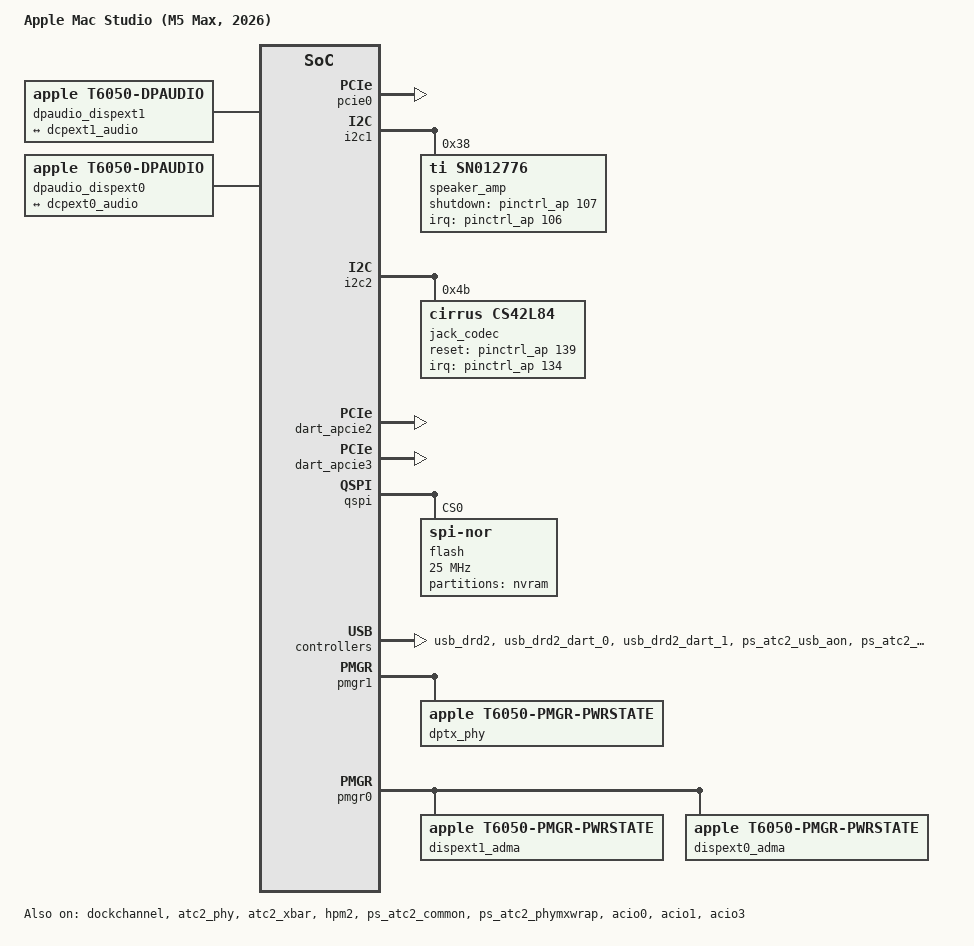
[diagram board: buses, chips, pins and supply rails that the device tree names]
// SPDX-License-Identifier: GPL-2.0+ OR MIT
/*
 * Mac Studio (M5 Max, 2026)
 *
 * target-type: J775c, board-id 0x10, chip-id 0x6050 (one die, 18 CPUs: 2x6 M + 6 P)
 *
 * The J775D (M5 Ultra) Studio's board on the one-die T6050 of the M5 Max, generated by
 * make-j775c-dts.py:
 * - the CPU, die-1 and GPU parts are t6050-j716c.dts's (M5 Max): die 1, its CPUs and buses go,
 *   each cluster's sixth core comes in, the GPU's OPP and AON tables are one die's (Aura fills
 *   them from the ADT), and the die-1 HPMs and nub-spmi-a2 go;
 * - the board parts are t6050-j775d.dts's: PCIe ports 2 (RTL8127A), 3 (ASM3142 USB-A) and 0 (N1),
 *   audio (SN012776 on i2c1 0x38, CS42L84 on i2c2 0x4b), the pins, console, DARTs, dual fans and
 *   the NVRAM partition.
 * Checked against the J775c ADT captured 2026-11-03 (macOS 26A425): the same PCIe endpoints (lan0
 * 10ec:8127, pcie-xhci 1b21:2142, centauri 106b:1901-1903; the GL9755 SD reader on port 1 is
 * described but disabled until trained by the bootloader), the same i2c addresses and GPIO pins
 * (amp 106/107, jack 134/139, N1 PERST# 80), the
 * same NVRAM (0x700000 + 0xc0000, 12 banks), ATC PHYs 1-3 and HPMs 0-3 on nub-spmi-a0 at J775D's
 * die-0 addresses, no nub-spmi-a2, and CPU MPIDRs 0x5/0x105/0x205 for each cluster's sixth core.
 * J775c-specific: the N1's platform ID and firmware name carry board 0x10.
 *
 * Not yet booted on J775c.
 *
 * Copyright The Asahi Linux Contributors
 */

/dts-v1/;

#include "t6050-j775c-legacy.dtsi"
#include "t6050-j775c-rebased-peripherals.dtsi"

/delete-node/ &cpu18;
/delete-node/ &cpu19;
/delete-node/ &cpu20;
/delete-node/ &cpu21;
/delete-node/ &cpu22;
/delete-node/ &cpu24;
/delete-node/ &cpu25;
/delete-node/ &cpu26;
/delete-node/ &cpu27;
/delete-node/ &cpu28;
/delete-node/ &cpu30;
/delete-node/ &cpu31;
/delete-node/ &cpu32;
/delete-node/ &cpu33;
/delete-node/ &cpu34;

/ {
	compatible = "apple,j775c", "apple,t6050", "apple,arm-platform";
	model = "Apple Mac Studio (M5 Max, 2026)";
	chassis-type = "desktop";

	aliases {
		serial0 = &dockchannel;
		/* the boot loader fills in the MAC address through this alias */
		ethernet0 = &ethernet0;
		/* kboot fills the N1's factory addresses from /chosen through these */
		wifi0 = &n1_alpha;
		bluetooth0 = &n1_beta;
		/* Aura's kboot_setup_atc() fills this PHY's tunables from /arm-io/atc-phy2. */
		atcphy2 = &atc2_phy;
		/* And /arm-io/atc-phy0's (rear USB-C port 1, the DFU port). */
		atcphy0 = &atc0_phy;
		/* The same fills /arm-io/atc-phy1's (rear USB-C port 2, USB data). */
		atcphy1 = &atc1_phy;
		/* And rear port 4's (atc-phy3, die 0); J775D's die-1 PHYs 4 and 5 don't exist on J775c. */
		atcphy3 = &atc3_phy;
		/* asahi-bless and the boot loader's dt_set_nvram find the partition by this alias */
		nvram = &nvram;
	};

	/*
	 * No stdout-path: the boot loader passes the console on the command
	 * line when it wants one.
	 */
	chosen {
		#address-cells = <2>;
		#size-cells = <2>;
		ranges;
		/*
		 * Normally replaced by the loader. With no console= named,
		 * NULL_TTY_DEFAULT_CONSOLE makes the console ttynull.
		 */
		bootargs = "maxcpus=1 rdinit=/init";
	};

	/*
	 * PCIe ports 2 (the onboard 10 Gb Ethernet) and 3 (the rear USB-A
	 * xHCI). The boot loader powers and trains both links and keeps power,
	 * clocks, the PHYs and PERST; Linux owns the routing, MSI and the
	 * DARTs. The boot loader disables a port, and its DART, whose link did
	 * not come up.
	 *
	 * Port 0 carries the N1 (Wi-Fi and Bluetooth), described disabled until the
	 * boot loader trains it (pci@0,0 below).
	 */
	pcie0: pcie@1cb0000000 {
		compatible = "apple,t6050-pcie";
		device_type = "pci";
		reg = <0x1c 0xb0000000 0x0 0x10000000>,
		      <0x4 0x14000000 0x0 0x4000>,
		      <0x4 0x12028000 0x0 0x8000>,
		      <0x4 0x17018000 0x0 0x4000>,
		      <0x4 0x12024000 0x0 0x4000>,
		      <0x4 0x13028000 0x0 0x8000>,
		      <0x4 0x1701c000 0x0 0x4000>,
		      <0x4 0x13024000 0x0 0x4000>,
		      <0x4 0x10028000 0x0 0x8000>,
		      <0x4 0x17010000 0x0 0x4000>,
		      <0x4 0x10024000 0x0 0x4000>,
		      <0x4 0x11028000 0x0 0x8000>,
		      <0x4 0x17014000 0x0 0x4000>,
		      <0x4 0x11024000 0x0 0x4000>;
		reg-names = "config", "rc", "port2", "phy2", "intr2axi2",
			    "port3", "phy3", "intr2axi3",
			    "port0", "phy0", "intr2axi0",
			    "port1", "phy1", "intr2axi1";
		nonposted-mmio;
		interrupts = <AIC_IRQ 0 1539 IRQ_TYPE_LEVEL_HIGH>,
			     <AIC_IRQ 0 1547 IRQ_TYPE_LEVEL_HIGH>,
			     <AIC_IRQ 0 1523 IRQ_TYPE_LEVEL_HIGH>,
			     <AIC_IRQ 0 1531 IRQ_TYPE_LEVEL_HIGH>;
		interrupt-names = "port2", "port3", "port0", "port1";

		/* One shared MSI domain for the GP ports: vectors 64-127 */
		msi-controller;
		msi-parent = <&pcie0>;
		msi-ranges = <&aic AIC_IRQ 0 1888 IRQ_TYPE_EDGE_RISING 64>;
		apple,msi-vector-base = <64>;

		/*
		 * The boot loader numbers port 2's secondary bus 1 and port 3's 2;
		 * port 0's is 3 until a boot loader that trains it renumbers all three
		 * in the PCI core's order. The N1's three functions are on DART
		 * streams 1-3.
		 */
		iommu-map = <0x100 &dart_apcie2 1 1>,
			    <0x200 &dart_apcie3 1 1>,
			    <0x300 &dart_apcie0 1 3>,
			    <0x400 &dart_apcie1 1 1>;
		iommu-map-mask = <0xffff>;
		dma-coherent;
		linux,pci-domain = <0>;
		bus-range = <0 4>;
		#address-cells = <3>;
		#size-cells = <2>;
		ranges = <0x02000000 0x0 0x80000000 0xb 0x80000000 0x0 0x40000000>,
			 <0x43000000 0xb 0xc0000000 0xb 0xc0000000 0x0 0x20000000>;

		/* ADT apcie0/pci-bridge1/pcie-sdreader: Genesys GL9755, 17a0:9755.
		 * Aura powers it via SMC pcIO (0, 0x190000), trains the link,
		 * then enables this node and its DART and renumbers the buses.
		 */

		port02: pci@2,0 {
			device_type = "pci";
			reg = <0x1000 0 0 0 0>;
			bus-range = <1 1>;
			apple,link-trained-by-bootloader;

			#address-cells = <3>;
			#size-cells = <2>;
			ranges;

			interrupt-controller;
			#interrupt-cells = <1>;
			interrupt-map-mask = <0 0 0 7>;
			interrupt-map = <0 0 0 1 &port02 0 0 0 0>,
					<0 0 0 2 &port02 0 0 0 1>,
					<0 0 0 3 &port02 0 0 0 2>,
					<0 0 0 4 &port02 0 0 0 3>;

			/* The RTL8127A keeps no MAC address of its own */
			ethernet0: ethernet@0,0 {
				reg = <0x10000 0x0 0x0 0x0 0x0>;
				/* To be filled by the loader */
				local-mac-address = [00 00 00 00 00 00];
			};
		};

		port03: pci@3,0 {
			device_type = "pci";
			reg = <0x1800 0 0 0 0>;
			bus-range = <2 2>;
			apple,link-trained-by-bootloader;

			#address-cells = <3>;
			#size-cells = <2>;
			ranges;

			interrupt-controller;
			#interrupt-cells = <1>;
			interrupt-map-mask = <0 0 0 7>;
			interrupt-map = <0 0 0 1 &port03 0 0 0 0>,
					<0 0 0 2 &port03 0 0 0 1>,
					<0 0 0 3 &port03 0 0 0 2>,
					<0 0 0 4 &port03 0 0 0 3>;
		};

		/*
		 * The N1 Wi-Fi/Bluetooth (106b:1900, its ROM), trained by the bootloader after the SMC
		 * releases its reset. Its driver boots the firmware and has this port reset after the ROM
		 * stage; Control, Alpha (Wi-Fi) and Beta (Bluetooth) then answer at functions 0-2.
		 * Disabled with its DART: a bootloader that trains the port enables both and renumbers the
		 * buses here (bus-range, reg, iommu-map) to the PCI core's order, port 0 first.
		 */
		port00: pci@0,0 {
			device_type = "pci";
			reg = <0x0 0 0 0 0>;
			bus-range = <3 3>;
			apple,link-trained-by-bootloader;
			/*
			 * Its PERST# (pci-bridge0 function-perst): /arm-io/gpio0 pin 0x50, pad
			 * register 0x140 of pinctrl_ap, which owns the pad (and exposes it: see
			 * its gpio-reserved-ranges below). Driven only by the root-port reset after
			 * the N1's ROM stage.
			 */
			reset-gpios = <&pinctrl_ap 80 GPIO_ACTIVE_LOW>;
			status = "disabled";

			#address-cells = <3>;
			#size-cells = <2>;
			ranges;

			interrupt-controller;
			#interrupt-cells = <1>;
			interrupt-map-mask = <0 0 0 7>;
			interrupt-map = <0 0 0 1 &port00 0 0 0 0>,
					<0 0 0 2 &port00 0 0 0 1>,
					<0 0 0 3 &port00 0 0 0 2>,
					<0 0 0 4 &port00 0 0 0 3>;

			/* The firmware: the chip's image with this board's ticket; platform ID is
			 * (board 0x10 << 16) | chip 0x6050, from J775c's /chosen board-id */
			n1_control: control@0,0 {
				compatible = "pci106b,1900";
				reg = <0x30000 0x0 0x0 0x0 0x0>;
				firmware-name = "apple/centauri/j775c-ftab.bin";
				apple,centauri-platform-id = <0x00106050>;
				apple,centauri-protocol = <27>;
			};

			n1_alpha: wifi@0,1 {
				compatible = "pci106b,1902";
				reg = <0x30100 0x0 0x0 0x0 0x0>;
				local-mac-address = [00 00 00 00 00 00];
			};

			n1_beta: bluetooth@0,2 {
				compatible = "pci106b,1903";
				reg = <0x30200 0x0 0x0 0x0 0x0>;
				local-bd-address = [00 00 00 00 00 00];
			};
		};
		port01: pci@1,0 {
			device_type = "pci";
			reg = <0x800 0 0 0 0>;
			bus-range = <4 4>;
			apple,link-trained-by-bootloader;
			status = "disabled";
			#address-cells = <3>;
			#size-cells = <2>;
			ranges;
			interrupt-controller;
			#interrupt-cells = <1>;
			interrupt-map-mask = <0 0 0 7>;
			interrupt-map = <0 0 0 1 &port01 0 0 0 0>,
					<0 0 0 2 &port01 0 0 0 1>,
					<0 0 0 3 &port01 0 0 0 2>,
					<0 0 0 4 &port01 0 0 0 3>;

			/* ADT card-detect-polarity = write-protect-polarity = 1. */
			sdcard@0,0 {
				compatible = "pci17a0,9755";
				reg = <0x40000 0 0 0 0>;
				cd-inverted;
				wp-inverted;
			};
		};
	};

	/*
	 * The jack (CS42L84) and the speaker (SN012776) through the AOP's audio services. The card waits
	 * for its CPU component, the AOP audio node, which exists only after Aura's AOP handoff.
	 */
	sound {
		compatible = "apple,j775c-macaudio", "apple,j775d-macaudio", "apple,macaudio";
		/*
		 * No variant letter, as on J375/J475/J575: userspace (speakersafetyd,
		 * the UCM profile, asahi-audio) keys on the card id "AppleJ775".
		 */
		model = "Mac Studio J775";
		#address-cells = <1>;
		#size-cells = <0>;

		dai-link@0 {
			reg = <0>;
			link-name = "Headphone Jack";

			cpu {
				sound-dai = <&aop_audio 0>;
			};

			codec {
				sound-dai = <&jack_codec>;
			};
		};

		dai-link@1 {
			reg = <1>;
			link-name = "Speaker";

			cpu {
				sound-dai = <&aop_audio 3>;
			};

			codec {
				sound-dai = <&speaker_amp>;
			};
		};
	};

	/delete-node/ soc@6300000000;
	/delete-node/ soc@2308000000;
	/delete-node/ soc@6308000000;
	/delete-node/ soc@2220000000;
	/delete-node/ soc@4200000000;

	/*
	 * The memory cache controller of the one die: eight AMCCs of four planes (ADT /arm-io/mcc:
	 * amcc-count 8, dcs-count-per-amcc 4, die-enable-mask 1). The dtsi's node also lists die 1's
	 * planes, so it goes with the die-1 buses above. Without this one the system level cache
	 * never allocates: the boot loader leaves allocation disabled on every plane.
	 *
	 * Each plane window reaches past the DSID quota and occupancy registers (+0xa000 to
	 * +0xc300); the ADT gives each AMCC 0x140000, its planes 0x40000 apart.
	 */
	soc@2220000000 {
		compatible = "simple-bus";
		#address-cells = <2>;
		#size-cells = <2>;
		ranges = <0x22 0x20000000 0x22 0x20000000 0x0 0x10000000>;
		nonposted-mmio;

		memory-controller@2220000000 {
			compatible = "apple,t6050-mcc";
			reg = <0x22 0x20000000 0x0 0x10000>,
			      <0x22 0x20040000 0x0 0x10000>,
			      <0x22 0x20080000 0x0 0x10000>,
			      <0x22 0x200c0000 0x0 0x10000>,
			      <0x22 0x22000000 0x0 0x10000>,
			      <0x22 0x22040000 0x0 0x10000>,
			      <0x22 0x22080000 0x0 0x10000>,
			      <0x22 0x220c0000 0x0 0x10000>,
			      <0x22 0x24000000 0x0 0x10000>,
			      <0x22 0x24040000 0x0 0x10000>,
			      <0x22 0x24080000 0x0 0x10000>,
			      <0x22 0x240c0000 0x0 0x10000>,
			      <0x22 0x26000000 0x0 0x10000>,
			      <0x22 0x26040000 0x0 0x10000>,
			      <0x22 0x26080000 0x0 0x10000>,
			      <0x22 0x260c0000 0x0 0x10000>,
			      <0x22 0x28000000 0x0 0x10000>,
			      <0x22 0x28040000 0x0 0x10000>,
			      <0x22 0x28080000 0x0 0x10000>,
			      <0x22 0x280c0000 0x0 0x10000>,
			      <0x22 0x2a000000 0x0 0x10000>,
			      <0x22 0x2a040000 0x0 0x10000>,
			      <0x22 0x2a080000 0x0 0x10000>,
			      <0x22 0x2a0c0000 0x0 0x10000>,
			      <0x22 0x2c000000 0x0 0x10000>,
			      <0x22 0x2c040000 0x0 0x10000>,
			      <0x22 0x2c080000 0x0 0x10000>,
			      <0x22 0x2c0c0000 0x0 0x10000>,
			      <0x22 0x2e000000 0x0 0x10000>,
			      <0x22 0x2e040000 0x0 0x10000>,
			      <0x22 0x2e080000 0x0 0x10000>,
			      <0x22 0x2e0c0000 0x0 0x10000>;
			apple,boot-dma-devices = <&display>;
		};
	};

	/*
	 * The GPU's OPP tables for one die: four clusters, so four voltage cells per main state,
	 * and one per CS/AFR state. Aura fills them in, as on J775D.
	 */
	/delete-node/ opp-table-gpu;
	/delete-node/ opp-table-gpu-afr;
	/delete-node/ opp-table-gpu-cs;

	/* /arm-io/sgx perf-states: 14 states, one table per cluster */
	gpu_opp: opp-table-gpu {
		compatible = "operating-points-v2";

		opp00 {
			opp-hz = /bits/ 64 <0>;
			opp-microvolt = <0 0 0 0>;
			opp-microvolt-sram = <0 0 0 0>;
		};

		opp01 {
			opp-hz = /bits/ 64 <0>;
			opp-microvolt = <0 0 0 0>;
			opp-microvolt-sram = <0 0 0 0>;
		};

		opp02 {
			opp-hz = /bits/ 64 <0>;
			opp-microvolt = <0 0 0 0>;
			opp-microvolt-sram = <0 0 0 0>;
		};

		opp03 {
			opp-hz = /bits/ 64 <0>;
			opp-microvolt = <0 0 0 0>;
			opp-microvolt-sram = <0 0 0 0>;
		};

		opp04 {
			opp-hz = /bits/ 64 <0>;
			opp-microvolt = <0 0 0 0>;
			opp-microvolt-sram = <0 0 0 0>;
		};

		opp05 {
			opp-hz = /bits/ 64 <0>;
			opp-microvolt = <0 0 0 0>;
			opp-microvolt-sram = <0 0 0 0>;
		};

		opp06 {
			opp-hz = /bits/ 64 <0>;
			opp-microvolt = <0 0 0 0>;
			opp-microvolt-sram = <0 0 0 0>;
		};

		opp07 {
			opp-hz = /bits/ 64 <0>;
			opp-microvolt = <0 0 0 0>;
			opp-microvolt-sram = <0 0 0 0>;
		};

		opp08 {
			opp-hz = /bits/ 64 <0>;
			opp-microvolt = <0 0 0 0>;
			opp-microvolt-sram = <0 0 0 0>;
		};

		opp09 {
			opp-hz = /bits/ 64 <0>;
			opp-microvolt = <0 0 0 0>;
			opp-microvolt-sram = <0 0 0 0>;
		};

		opp10 {
			opp-hz = /bits/ 64 <0>;
			opp-microvolt = <0 0 0 0>;
			opp-microvolt-sram = <0 0 0 0>;
		};

		opp11 {
			opp-hz = /bits/ 64 <0>;
			opp-microvolt = <0 0 0 0>;
			opp-microvolt-sram = <0 0 0 0>;
		};

		opp12 {
			opp-hz = /bits/ 64 <0>;
			opp-microvolt = <0 0 0 0>;
			opp-microvolt-sram = <0 0 0 0>;
		};

		opp13 {
			opp-hz = /bits/ 64 <0>;
			opp-microvolt = <0 0 0 0>;
			opp-microvolt-sram = <0 0 0 0>;
		};
	};

	/* afr-perf-states, one voltage */
	gpu_afr_opp: opp-table-gpu-afr {
		compatible = "operating-points-v2";

		opp00 {
			opp-hz = /bits/ 64 <0>;
			opp-microvolt = <0>;
		};

		opp01 {
			opp-hz = /bits/ 64 <0>;
			opp-microvolt = <0>;
		};

		opp02 {
			opp-hz = /bits/ 64 <0>;
			opp-microvolt = <0>;
		};

		opp03 {
			opp-hz = /bits/ 64 <0>;
			opp-microvolt = <0>;
		};

		opp04 {
			opp-hz = /bits/ 64 <0>;
			opp-microvolt = <0>;
		};

		opp05 {
			opp-hz = /bits/ 64 <0>;
			opp-microvolt = <0>;
		};

		opp06 {
			opp-hz = /bits/ 64 <0>;
			opp-microvolt = <0>;
		};

		opp07 {
			opp-hz = /bits/ 64 <0>;
			opp-microvolt = <0>;
		};

		opp08 {
			opp-hz = /bits/ 64 <0>;
			opp-microvolt = <0>;
		};

		opp09 {
			opp-hz = /bits/ 64 <0>;
			opp-microvolt = <0>;
		};

		opp10 {
			opp-hz = /bits/ 64 <0>;
			opp-microvolt = <0>;
		};

		opp11 {
			opp-hz = /bits/ 64 <0>;
			opp-microvolt = <0>;
		};

		opp12 {
			opp-hz = /bits/ 64 <0>;
			opp-microvolt = <0>;
		};

		opp13 {
			opp-hz = /bits/ 64 <0>;
			opp-microvolt = <0>;
		};
	};

	/* cs-perf-states, one voltage */
	gpu_cs_opp: opp-table-gpu-cs {
		compatible = "operating-points-v2";

		opp00 {
			opp-hz = /bits/ 64 <0>;
			opp-microvolt = <0>;
		};

		opp01 {
			opp-hz = /bits/ 64 <0>;
			opp-microvolt = <0>;
		};

		opp02 {
			opp-hz = /bits/ 64 <0>;
			opp-microvolt = <0>;
		};

		opp03 {
			opp-hz = /bits/ 64 <0>;
			opp-microvolt = <0>;
		};

		opp04 {
			opp-hz = /bits/ 64 <0>;
			opp-microvolt = <0>;
		};

		opp05 {
			opp-hz = /bits/ 64 <0>;
			opp-microvolt = <0>;
		};

		opp06 {
			opp-hz = /bits/ 64 <0>;
			opp-microvolt = <0>;
		};

		opp07 {
			opp-hz = /bits/ 64 <0>;
			opp-microvolt = <0>;
		};

		opp08 {
			opp-hz = /bits/ 64 <0>;
			opp-microvolt = <0>;
		};

		opp09 {
			opp-hz = /bits/ 64 <0>;
			opp-microvolt = <0>;
		};

		opp10 {
			opp-hz = /bits/ 64 <0>;
			opp-microvolt = <0>;
		};

		opp11 {
			opp-hz = /bits/ 64 <0>;
			opp-microvolt = <0>;
		};

		opp12 {
			opp-hz = /bits/ 64 <0>;
			opp-microvolt = <0>;
		};

		opp13 {
			opp-hz = /bits/ 64 <0>;
			opp-microvolt = <0>;
		};
	};
};


/* The AON power-telemetry records of one die (g0TR, g1TR, r0TR), which Aura fills */
&gpu {
	apple,aon-ptd = <0 0 0  0 0 0  0 0 0>;
	/* The J775c ADT's gpu-idleoff-standby-timer, 0xdac (the board default is 1500 us). */
	apple,idleoff-standby-timer = <3500>;
};

&{/cpus} {
	cpu-map {
		cluster0 {
			core0 {
				cpu = <&cpu0>;
			};
			core1 {
				cpu = <&cpu1>;
			};
			core2 {
				cpu = <&cpu2>;
			};
			core3 {
				cpu = <&cpu3>;
			};
			core4 {
				cpu = <&cpu4>;
			};
			core5 {
				cpu = <&cpu5>;
			};
		};
		cluster1 {
			core0 {
				cpu = <&cpu6>;
			};
			core1 {
				cpu = <&cpu7>;
			};
			core2 {
				cpu = <&cpu8>;
			};
			core3 {
				cpu = <&cpu9>;
			};
			core4 {
				cpu = <&cpu10>;
			};
			core5 {
				cpu = <&cpu11>;
			};
		};
		cluster2 {
			core0 {
				cpu = <&cpu12>;
			};
			core1 {
				cpu = <&cpu13>;
			};
			core2 {
				cpu = <&cpu14>;
			};
			core3 {
				cpu = <&cpu15>;
			};
			core4 {
				cpu = <&cpu16>;
			};
			core5 {
				cpu = <&cpu17>;
			};
		};
	};



};

/*
 * CPU PMUs, one per core type. A core's PMU interrupt is a FIQ (PMCR0
 * IMODE = FIQ, as XNU programs it), which AIC hands to the PMU whose FIQ
 * index lists that core. The ADT's per-core AIC interrupts (cpuN
 * "interrupts", 69 + 3n on cluster 0, 101 + 3n on cluster 1, 133 + 3n on
 * the P cluster) are not used. These live here rather than in t6050.dtsi
 * because the core list is the board's: one die, six cores per cluster.
 */
/ {

};


/* J775D's die-1 PD controllers (hpm4, hpm5 on nub-spmi-a2) don't exist on J775c */
/delete-node/ &hpm4;
/delete-node/ &hpm5;

&nub_spmi_a2 {
	status = "disabled";
};


/* The pins this board's nodes name, and no others */
&pinctrl_ap {
	/*
	 * Every pin reads cleanly (evidence/dt/2026-10-30-gpio-qualification.md), but only
	 * the pins a node in this file names are exposed: 80 (PCIe port 0's PERST#, ADT
	 * pci-bridge0 function-perst), 106 (amp IRQ), 107 (amp shutdown), 134 (jack IRQ)
	 * and 139 (jack codec reset), from the ADT's audio-speaker and audio-codec-output.
	 * A reserved line cannot be requested (gpiolib answers -EINVAL), so a node that
	 * names a new pin of pinctrl_ap opens it here too.
	 */
	gpio-reserved-ranges = <0 80>, <81 25>, <108 26>, <135 4>, <140 81>;
};

&i2c1 {
	/*
	 * ADT speaker-config 00 14 00 02: playback slot 0, amp gain 20, I sense in slot 0
	 * and V sense in slot 2. The bytes are <slot, gain, I slot, V slot>: on J316 every
	 * amp's row matches its validated imon/vmon pair (00 0f 00 02 is imon 0, vmon 2;
	 * 01 0f 04 06 is imon 4, vmon 6), and J375/J473/J575 use imon 0, vmon 2 as well.
	 * The firmware's speaker frame is 250 BCLKs of 12 MHz (ADT
	 * iop-audio-controller/audio-speaker), which the amp's ratio detection rejects.
	 */
	speaker_amp: codec@38 {
		compatible = "ti,sn012776", "ti,tas2764";
		reg = <0x38>;
		shutdown-gpios = <&pinctrl_ap 107 GPIO_ACTIVE_HIGH>;
		interrupts-extended = <&pinctrl_ap 106 IRQ_TYPE_LEVEL_LOW>;
		#sound-dai-cells = <0>;
		ti,imon-slot-no = <0>;
		ti,vmon-slot-no = <2>;
		ti,bclk-ratio = <250>;
	};
};

&i2c2 {
	jack_codec: codec@4b {
		compatible = "cirrus,cs42l84";
		reg = <0x4b>;
		reset-gpios = <&pinctrl_ap 139 GPIO_ACTIVE_HIGH>;
		interrupts-extended = <&pinctrl_ap 134 IRQ_TYPE_LEVEL_LOW>;
		#sound-dai-cells = <0>;
		sound-name-prefix = "Jack";
	};
};

/*
 * The console is on the USB debug link, which drains only while a host reads
 * it; the machine also boots with nothing attached there.
 */
&dockchannel {
	apple,tx-never-wait;
	status = "okay";
};

&dart_apcie2 {
	status = "okay";
};

&dart_apcie3 {
	status = "okay";
};

#include "hwmon-fan-dual.dtsi"

/*
 * The Studio's SMC has F0Ac/F0Mn/F0Mx/F0Tg and F1*, but its mode keys are F0md/F1md (ui8, flags 0xd0:
 * readable, writable, a function key), not the F0Md/F1Md the dtsi names; with the dtsi's names fan
 * creation failed on the missing key. With the real keys the fans can be set by the kernel's
 * thermal policy (the M5 GPU governor, through macsmc_hwmon_fans_request()). No
 * apple,fan-manual-control: userspace still only reads them.
 */
&smc_hwmon {
	fan-F0Ac {
		apple,fan-mode = "F0md";
	};

	fan-F1Ac {
		apple,fan-mode = "F1md";
	};
};

/*
 * The boot NOR's NVRAM: the loader fills the partition from ADT /arm-io/qspi/spinor/anvram reg
 * (0x700000, 0xc0000 here), 12 banks of 64 KiB (/chosen nvram-bank-count, nvram-bank-size). The
 * flash is spinor's CS0 (its reg's first cell; the second is 0x19, 25), clocked as on T8140's
 * J700. Only this partition is exposed (no MTD_PARTITIONED_MASTER), so the rest of the boot NOR
 * has no device node, and the controller's T8140 policy admits programs and erases only inside
 * this partition.
 */
&qspi {
	status = "okay";

	flash@0 {
		compatible = "jedec,spi-nor";
		reg = <0>;
		spi-max-frequency = <25000000>;
		/* Single-wire, as on T8132's J713: no quad-enable status write at probe */
		spi-rx-bus-width = <1>;
		spi-tx-bus-width = <1>;

		partitions {
			compatible = "fixed-partitions";
			#address-cells = <1>;
			#size-cells = <1>;

			nvram: partition@700000 {
				label = "nvram";
				/* To be filled by the loader */
				reg = <0x0 0x0>;
				status = "disabled";
			};
		};
	};
};

/*
 * The always-on (NUB) GPIO block, ADT /arm-io/nub-gpio0 (61 pins, no power gate). Only pin 14 is
 * exposed: the rear USB-A hubs' reset, ADT spi3/usb3hub-flash/usb3hub-fw function-usb3hub_rst
 * (nub-gpio0 pin 14, flags 1). Behind the ASM3142 sits a VIA VL822 USB3.1/USB2.0 hub pair
 * (05ac:800e, 05ac:800d) that boots from its own SPI flash once released. The pin is left an
 * undriven input, which holds the hubs in reset; driven high, both hubs and the USB-A devices
 * behind them enumerate within a second (lobata, 2026-11-04), so the reset is active low.
 */
&{/soc} {
};

/*
 * Rear USB-C port 3 (HPM2, usb-pd@8, the display port): its USB controller, enabled with
 * atc2_phy as t6050.dtsi says, for USB beside DisplayPort.
 */
&usb_drd2 {
	status = "okay";
};

&usb_drd2_dart_0 {
	status = "okay";
};

&usb_drd2_dart_1 {
	status = "okay";
};

/*
 * The HDMI port. On the one-die J775c it hangs off die 0, where J775D has it on die 1
 * (dcpext4, lpdptx-phy1, dp2hdmi-gpio1, all deleted here with the die-1 buses). From the
 * J775c ADT (captured 2026-11-03, macOS 26A425; arm-io ranges child 0 -> 0x200000000):
 * - display-crossbar0 (display-crossbar,t6050) has no registers. Its dfp endpoint 4 is
 *   lpdptx-phy0 (dp-switch-dfp-endpoint 4, transports-supported 5); its ufp endpoints are
 *   dispext0..7. dcpext1 is ufp endpoint 1 (dcpext0, which takes the four rear USB-C
 *   ports, is 0), so the PHY's source select picks it (source-select-offset 1).
 * - lpdptx-phy0 (dptx-phy,t6050): reg 0x9c240000+0x10000 (dptx) and 0x9c200000+0x4000
 *   (core); power-gates and clock-gates 0xe5, PMGR device DPTX_PHY (ps-group 1 + 0x3f8,
 *   no parents); DCOCFG 3, DTCVREG 15, DTCCAL 2, DCDADJ 16, DLFCFG 3, pclkdrv-select 1;
 *   RODCOROLEAKCOMP and FD0FD1SWAP absent (0xffffffff).
 * - dp2hdmi-gpio0 (dp2hdmi-gpio-parent of lpdptx-phy0, pcon-stays-on): hdmi_hpd is
 *   aop-gpio0 pin 14, hdmi_pwr_en and dp2hdmi_pwr_en the SMC's pKW8 pcIO commands; the
 *   same pins as J775D's dp2hdmi-gpio1, which t6050.dtsi already describes (pinctrl_aop,
 *   smc_pcio).
 * - dcpext1 (iop-dcpext1-nub external-index 2), dispext1, dart-dcpext1, dart-dispext1:
 *   dcpext0's layout at +0x1e0000000 (child 0x1_92e00000), but dispext1's reg[4], the PMC
 *   metadata, is the one dispext0 names. Interrupts: mailbox 1195..1198 (ADT order
 *   0x4ac 0x4ab 0x4ae 0x4ad, as dcpext0's 0x464 0x463 0x466 0x465), both DARTs 1142.
 *   The bandwidth request is PMGR bwr-agent 4, DISP_EXT1 (BIRQ 0x3c, dispext1's
 *   bw_req_interrupt0); its scratch is 0x20000 + 0x4000 * agent, as DISP_INT (agent 0,
 *   J716c's dcp at 0x20000) and DISP_EXT0 (agent 3, dcpext0 at 0x2c000) have it.
 * iBoot leaves dcpext1 as it leaves dcpext0: powered (DISPEXT1_CPU 0x2806002e0 =
 * 0x1404024f), its ASC running, both DARTs locked (0xff / 0xb9) on the ADT's l1-tt roots
 * for SIDs 23, 0 and 16 (Aura's T6050 inventory on lobata, 2026-11-04). All disabled:
 * Aura's T6050 handoff enables dcpext1 with its nodes, the PHY and its power domain and
 * pinctrl_aop when the engine passes the same checks as dcpext0, and appends
 * dart_dispext1 to the display subsystem.
 */
&{/soc} {




};

/* The HDMI PHY's power gate (ADT pmgr DPTX_PHY, 0xe5); with no consumer it stays off */
&pmgr1 {
	ps_dptx_phy: power-controller@3f8 {
		compatible = "apple,t6050-pmgr-pwrstate", "apple,t8103-pmgr-pwrstate";
		reg = <0x3f8 4>;
		label = "dptx_phy";
		#power-domain-cells = <0>;
		#reset-cells = <0>;
	};
};

/*
 * The HDMI hotplug input is the only AOP GPIO pin the AP uses; the AOP owns the rest,
 * so only pin 14 is exposed (pin 15, force-dpfu, is never requested).
 */
&pinctrl_aop {
	gpio-reserved-ranges = <0 14>, <15 70>;
};

/*
 * The HDMI port's audio. On T6050 every display pipe has its own audio DMA controller (ADT
 * admac-dispextN, "admac,t6050", the AOP's ADMAC family), behind its own DART
 * (dart-dispextN-isoc, one mapper: dispextN-dpa, SID 30), feeding that pipe's DisplayPort
 * audio interface (dp-audioN+1). M1..M4 fed it from the SIO coprocessor instead; this
 * generation has no SIO DMA path for it (ADT dp-audio2 dma-parent = admac-dispext1), and
 * macOS drives it from the AP (AudioDMAController-T605x on admac-dispext1, channel DX10TX;
 * DCPAVAudioDMADelegate on dp-audio2). The DCP's audio service on port@0 does the rest.
 * From the J775c ADT (arm-io child 0 -> 0x200000000):
 * - admac-dispext1: reg 0x1_92140000+0x24000 and the shared 0x88328000+8 (the LLT vote
 *   register admac-base-ns names too; not needed here); one TX channel; interrupt 0x48c on
 *   irq-destination 0 (AIC), as admac-base-ns; channel-buffer-allocation 0x1900.
 * - dart-dispext1-isoc (dart,t8110): reg 0x1_92180000+0x20000 (and the shared PS_PROT block
 *   at 0x803f0000), interrupt 0x48d, vm-base 1 TiB, vm-size 64 GiB, no l1-tt: iBoot sets up
 *   no stream on it, so it is not locked.
 * - dp-audio2: power-gates/clock-gates 0x51 = PMGR DISPEXT1_ADMA (ps-group 0, 0x2d8, parent
 *   DISPEXT1_SYS, which iBoot leaves on with dcpext1); dma-parent admac-dispext1 channel 0.
 *   No AP-side registers. The ADMAC and the DART have no power gate of their own; both are
 *   given DISPEXT1_ADMA, which macOS turns on for the DPA.
 * The audio interface itself is always available: the display subsystem waits for it as a
 * component of dcpext1 (once Aura enables dcpext1), so it carries no power domain whose
 * failure could hold the display back. A DMA controller that does not come up only fails
 * the PCM's open.
 */
&{/soc} {

};

&pmgr0 {
	/* ADT pmgr DISPEXT1_ADMA (0x51): dispext1's audio DMA and DisplayPort audio */
	ps_dispext1_adma: power-controller@2d8 {
		compatible = "apple,t6050-pmgr-pwrstate", "apple,t8103-pmgr-pwrstate";
		reg = <0x2d8 4>;
		label = "dispext1_adma";
		#power-domain-cells = <0>;
		#reset-cells = <0>;
	};
};

&dcpext1 {
	ports {
		#address-cells = <1>;
		#size-cells = <0>;

		port@0 {
			reg = <0>;
			dcpext1_audio: endpoint {
				remote-endpoint = <&dpaudio_dispext1_dcp>;
			};
		};
	};
};

/* ADT dp-audio2: no AP-side registers, so not on the SoC bus */
/ {
	dpaudio_dispext1: audio-controller-dispext1 {
		compatible = "apple,t6050-dpaudio", "apple,dpaudio";
		dmas = <&admac_dispext1 0>;
		dma-names = "tx";

		ports {
			#address-cells = <1>;
			#size-cells = <0>;

			port@0 {
				reg = <0>;
				dpaudio_dispext1_dcp: endpoint {
					remote-endpoint = <&dcpext1_audio>;
				};
			};
		};
	};
};

/*
 * DisplayPort audio on the rear USB-C ports: dcpext0's pipe, laid out as dcpext1's above.
 * ADT admac-dispext0 0xb2140000 (interrupt 0x444), dart-dispext0-isoc 0xb2180000 (interrupt
 * 0x445, SID 30, no l1-tt), dp-audio1 with power gate DISPEXT0_ADMA (0x44, pmgr0 0x270,
 * parent DISPEXT0_SYS).
 */
&{/soc} {

};

&pmgr0 {
	/* ADT pmgr DISPEXT0_ADMA (0x44): dispext0's audio DMA and DisplayPort audio */
	ps_dispext0_adma: power-controller@270 {
		compatible = "apple,t6050-pmgr-pwrstate", "apple,t8103-pmgr-pwrstate";
		reg = <0x270 4>;
		label = "dispext0_adma";
		#power-domain-cells = <0>;
		#reset-cells = <0>;
	};
};

&dcpext0 {
	ports {
		#address-cells = <1>;
		#size-cells = <0>;

		port@0 {
			reg = <0>;
			dcpext0_audio: endpoint {
				remote-endpoint = <&dpaudio_dispext0_dcp>;
			};
		};
	};
};

/* ADT dp-audio1 */
/ {
	dpaudio_dispext0: audio-controller-dispext0 {
		compatible = "apple,t6050-dpaudio", "apple,dpaudio";
		dmas = <&admac_dispext0 0>;
		dma-names = "tx";

		ports {
			#address-cells = <1>;
			#size-cells = <0>;

			port@0 {
				reg = <0>;
				dpaudio_dispext0_dcp: endpoint {
					remote-endpoint = <&dcpext0_audio>;
				};
			};
		};
	};
};

/* The untrained port's DART must not be probed; Aura enables it after link-up. */
&{/soc} {
};

#include "t6050-j775c-usb4.dtsi"

#include "t6050-j775c-usb4-capture.dtsi"

/* Match the ported board's ATC2 supplier activation. */
&atc2_phy_mbox { status = "okay"; };
&atc2_phy { status = "okay"; };
&atc2_xbar { status = "okay"; };

/* Match the ported board's rear port 3 PD activation. */
&hpm2 { status = "okay"; };

/* Activate ATC2 domain providers as a separate migration step. */
&ps_atc2_common { status = "okay"; };
&ps_atc2_usb_aon { status = "okay"; };
&ps_atc2_phymxwrap { status = "okay"; };
&ps_atc2_usb { status = "okay"; };

/* Exact shared ACIO0/1/3 definitions from 953cbcc0, enabled here. */
#include "t6050-acio.dtsi"

&acio0_mbox { status = "okay"; };
&acio0 { status = "okay"; port { acio0_tbt: endpoint { remote-endpoint = <&hpm0_usb4>; }; }; };

&acio1_mbox { status = "okay"; };
&acio1 { status = "okay"; port { acio1_tbt: endpoint { remote-endpoint = <&hpm1_usb4>; }; }; };

&acio3_mbox { status = "okay"; };
&acio3 { status = "okay"; port { acio3_tbt: endpoint { remote-endpoint = <&hpm3_usb4>; }; }; };

#include "t6050-j775c-incremental-pmgr.dtsi"

#include "t6050-j775c-incremental-pcie.dtsi"

#include "t6050-j775c-incremental-display.dtsi"
